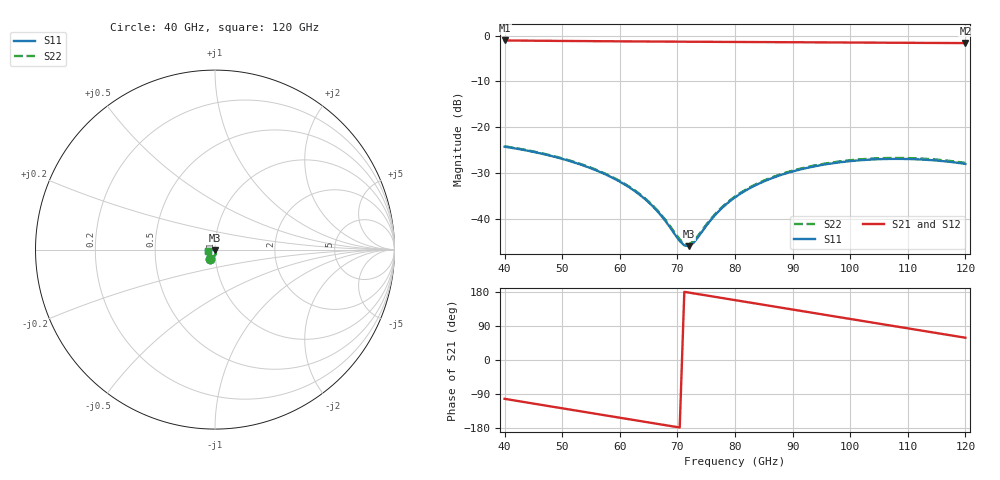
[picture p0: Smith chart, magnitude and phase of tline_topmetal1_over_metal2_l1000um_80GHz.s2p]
#  GHZ S DB R 50
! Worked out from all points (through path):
!   101 points, 40 GHz to 120 GHz, reference 50 ohm
!   highest |S21| = -1.05 dB at 40 GHz (marker M1); lowest = -1.6 dB at 120 GHz (marker M2)
!   group delay of S21, straight-line fit = 6.9 ps
!   lowest |S11| = -45.9 dB at 72 GHz (marker M3), VSWR 1.01, Z = 49.7 - j0.435 ohm
!   |S11| at or under -10 dB: start of sweep to end of sweep
!   |S22| runs from -45.6 to -24.2 dB; largest |S21 - S12| = 0
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40  -24.23 -117.4  -1.05 -102.5  -1.05 -102.5  -24.16 -117.2
46.4  -25.75 -136.1  -1.12 -118.5  -1.12 -118.5  -25.66 -135.8
53.6  -28.31 -155.7  -1.19 -136.4  -1.19 -136.4  -28.19 -155.3
57.6  -30.33 -165.6  -1.22 -146.4  -1.22 -146.4  -30.20 -165.0
61.6  -33.08 -173.6  -1.26 -156.3  -1.26 -156.3  -32.93 -172.9
64.8  -36.14 -177.2  -1.28 -164.2  -1.28 -164.2  -35.97 -176.2
67.2  -39.30 -175.3  -1.30 -170.2  -1.30 -170.2  -39.09 -174.1
70.4  -44.82 -151.1  -1.32 -178.1  -1.32 -178.1  -44.47 -149.9
71.2  -45.79 -136.7  -1.32 179.9  -1.32 179.9  -45.40 -135.9
72  -45.95 -120.0  -1.33 177.9  -1.33 177.9  -45.55 -119.8
72.8  -45.22 -104.7  -1.33 175.9  -1.33 175.9  -44.87 -104.8
76.8  -38.81 -75.7  -1.36 166.0  -1.36 166.0  -38.61 -75.7
80  -35.30 -75.6  -1.38 158.0  -1.38 158.0  -35.12 -75.3
82.4  -33.41 -78.8  -1.39 152.1  -1.39 152.1  -33.23 -78.4
85.6  -31.51 -84.9  -1.41 144.1  -1.41 144.1  -31.33 -84.2
89.6  -29.79 -93.7  -1.44 134.2  -1.44 134.2  -29.61 -92.9
93.6  -28.58 -103.2  -1.46 124.2  -1.46 124.2  -28.39 -102.2
97.6  -27.74 -113.0  -1.49 114.3  -1.49 114.3  -27.55 -111.9
100.8  -27.30 -120.9  -1.51 106.4  -1.51 106.4  -27.10 -119.8
107.2  -26.90 -136.9  -1.55 90.5  -1.55 90.5  -26.70 -135.5
113.6  -27.13 -152.7  -1.59 74.6  -1.59 74.6  -26.93 -151.2
120  -28.00 -168.2  -1.63 58.8  -1.63 58.8  -27.79 -166.5
